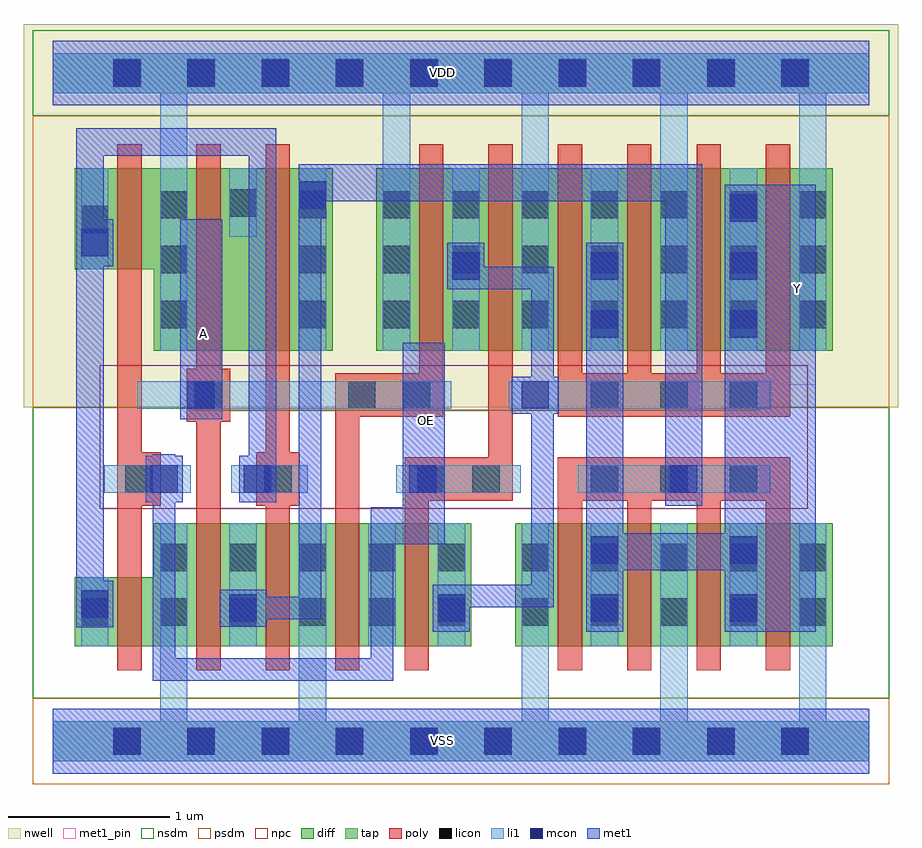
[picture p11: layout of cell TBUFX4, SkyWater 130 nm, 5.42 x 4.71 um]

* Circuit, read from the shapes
.subckt TBUFX4 A OE VDD VSS Y
XM1 VSS OE n1 VSS sky130_fd_pr__nfet_01v8 w=0.425 l=0.15
XM2 n2 A VSS VSS sky130_fd_pr__nfet_01v8 w=0.76 l=0.15
XM3 VSS n1 n2 VSS sky130_fd_pr__nfet_01v8 w=0.76 l=0.15
XM4 n3 A VSS VSS sky130_fd_pr__nfet_01v8 w=0.76 l=0.15
XM5 n4 OE n3 VSS sky130_fd_pr__nfet_01v8 w=0.76 l=0.15
XM6 Y n2 VSS VSS sky130_fd_pr__nfet_01v8 w=0.76 l=0.15 m=4
XM7 VDD OE n1 VDD sky130_fd_pr__pfet_01v8 w=0.625 l=0.15
XM8 n5 A VDD VDD sky130_fd_pr__pfet_01v8 w=1.13 l=0.15
XM9 n2 n1 n5 VDD sky130_fd_pr__pfet_01v8 w=1.13 l=0.15
XM10 n4 A VDD VDD sky130_fd_pr__pfet_01v8 w=1.13 l=0.15
XM11 VDD OE n4 VDD sky130_fd_pr__pfet_01v8 w=1.13 l=0.15
XM12 Y n4 VDD VDD sky130_fd_pr__pfet_01v8 w=1.13 l=0.15 m=4
.ends

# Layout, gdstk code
from math import pi, radians
import gdstk
lib = gdstk.Library(unit=1e-6, precision=1e-09)
def R(c, l, rs):  # rectangles x0, y0, x1, y1
    for r in rs: c.add(gdstk.rectangle(r[:2], r[2:], *l))
def A(c, l, x, y, w, h, nx, ny, dx, dy):  # array of equal rectangles
    R(c, l, [(x+i*dx, y+j*dy, x+i*dx+w, y+j*dy+h) for i in range(nx) for j in range(ny)])
def P(c, l, *ps):  # polygons
    for p in ps: c.add(gdstk.Polygon(p, *l))
nwell = (64, 20)
diff = (65, 20)
tap = (65, 44)
poly = (66, 20)
licon = (66, 44)
li1 = (67, 20)
mcon = (67, 44)
met1_pin = (68, 16)
met1 = (68, 20)
nsdm = (93, 44)
psdm = (94, 20)
npc = (95, 20)

pfet_01v8_cdns_715785618 = lib.new_cell('pfet_01v8_CDNS_7157856182068')
R(pfet_01v8_cdns_715785618, nwell, [(-0.445,-0.18,0.555,1.31)])
R(pfet_01v8_cdns_715785618, diff, [(-0.265,0,0,1.13), (0,0,0.15,1.13), (0.15,0,0.375,1.13)])
R(pfet_01v8_cdns_715785618, poly, [(0,-0.15,0.15,-0.095), (0,-0.095,0.15,0), (0,0,0.15,1.13), (0,1.13,0.15,1.225), (0,1.225,0.15,1.28)])
A(pfet_01v8_cdns_715785618, licon, -0.225, 0.14, 0.17, 0.17, 1, 3, 0, 0.34)
R(pfet_01v8_cdns_715785618, li1, [(-0.225,0,-0.055,1.13)])
R(pfet_01v8_cdns_715785618, psdm, [(-0.405,-0.13,0.385,1.26)])

nfet_01v8_cdns_715785618 = lib.new_cell('nfet_01v8_CDNS_7157856182069')
A(nfet_01v8_cdns_715785618, diff, 0, 0, 0.15, 0.76, 4, 1, 0.43, 0)
A(nfet_01v8_cdns_715785618, diff, 0.15, 0, 0.28, 0.76, 3, 1, 0.43, 0)
R(nfet_01v8_cdns_715785618, diff, [(-0.265,0,0,0.76), (1.44,0,1.705,0.76)])
A(nfet_01v8_cdns_715785618, poly, 0, -0.15, 0.15, 0.055, 4, 2, 0.43, 1.005)
A(nfet_01v8_cdns_715785618, poly, 0, -0.095, 0.15, 0.095, 4, 2, 0.43, 0.855)
A(nfet_01v8_cdns_715785618, poly, 0, 0, 0.15, 0.76, 4, 1, 0.43, 0)
A(nfet_01v8_cdns_715785618, licon, -0.225, 0.125, 0.17, 0.17, 5, 2, 0.43, 0.34)
A(nfet_01v8_cdns_715785618, li1, -0.225, 0, 0.17, 0.76, 5, 1, 0.43, 0)
R(nfet_01v8_cdns_715785618, nsdm, [(-0.405,-0.13,1.845,0.89)])

c_nfet_01v8_cdns_715785618 = lib.new_cell('nfet_01v8_CDNS_7157856182065')
R(c_nfet_01v8_cdns_715785618, diff, [(-0.075,0,0,0.425), (0,0,0.15,0.425), (0.15,0,0.415,0.425)])
R(c_nfet_01v8_cdns_715785618, poly, [(0,-0.15,0.15,-0.095), (0,-0.095,0.15,0), (0,0,0.15,0.425), (0,0.425,0.15,0.52), (0,0.52,0.15,0.575)])
R(c_nfet_01v8_cdns_715785618, licon, [(0.205,0.125,0.375,0.295)])
R(c_nfet_01v8_cdns_715785618, li1, [(0.205,0,0.375,0.425)])
R(c_nfet_01v8_cdns_715785618, nsdm, [(0.045,-0.13,0.555,0.555)])

c_pfet_01v8_cdns_715785618 = lib.new_cell('pfet_01v8_CDNS_7157856182062')
R(c_pfet_01v8_cdns_715785618, nwell, [(-0.255,-0.18,0.595,0.805)])
R(c_pfet_01v8_cdns_715785618, diff, [(-0.075,0,0,0.625), (0,0,0.15,0.625), (0.15,0,0.415,0.625)])
R(c_pfet_01v8_cdns_715785618, poly, [(0,-0.15,0.15,-0.095), (0,-0.095,0.15,0), (0,0,0.15,0.625), (0,0.625,0.15,0.72), (0,0.72,0.15,0.775)])
R(c_pfet_01v8_cdns_715785618, licon, [(0.205,0.225,0.375,0.395)])
R(c_pfet_01v8_cdns_715785618, li1, [(0.205,0,0.375,0.625)])
R(c_pfet_01v8_cdns_715785618, psdm, [(0.045,-0.13,0.555,0.755)])

c_nfet_01v8_cdns_715785618_ = lib.new_cell('nfet_01v8_CDNS_715785618200')
R(c_nfet_01v8_cdns_715785618_, diff, [(-0.265,0,0,0.76), (0,0,0.15,0.76), (0.15,0,0.415,0.76)])
R(c_nfet_01v8_cdns_715785618_, poly, [(0,-0.15,0.15,-0.095), (0,-0.095,0.15,0), (0,0,0.15,0.76), (0,0.76,0.15,0.855), (0,0.855,0.15,0.91)])
R(c_nfet_01v8_cdns_715785618_, licon, [(-0.225,0.125,-0.055,0.295), (0.205,0.125,0.375,0.295), (-0.225,0.465,-0.055,0.635), (0.205,0.465,0.375,0.635)])
R(c_nfet_01v8_cdns_715785618_, li1, [(-0.225,0,-0.055,0.76), (0.205,0,0.375,0.76)])
R(c_nfet_01v8_cdns_715785618_, nsdm, [(-0.405,-0.13,0.555,0.89)])

c_pfet_01v8_cdns_715785618_ = lib.new_cell('pfet_01v8_CDNS_7157856182016')
R(c_pfet_01v8_cdns_715785618_, nwell, [(-0.405,-0.18,1.885,1.31)])
A(c_pfet_01v8_cdns_715785618_, diff, 0, 0, 0.15, 1.13, 4, 1, 0.43, 0)
A(c_pfet_01v8_cdns_715785618_, diff, 0.15, 0, 0.28, 1.13, 3, 1, 0.43, 0)
R(c_pfet_01v8_cdns_715785618_, diff, [(-0.225,0,0,1.13), (1.44,0,1.705,1.13)])
A(c_pfet_01v8_cdns_715785618_, poly, 0, -0.15, 0.15, 0.055, 4, 2, 0.43, 1.375)
A(c_pfet_01v8_cdns_715785618_, poly, 0, -0.095, 0.15, 0.095, 4, 2, 0.43, 1.225)
A(c_pfet_01v8_cdns_715785618_, poly, 0, 0, 0.15, 1.13, 4, 1, 0.43, 0)
A(c_pfet_01v8_cdns_715785618_, licon, -0.225, 0.14, 0.17, 0.17, 5, 3, 0.43, 0.34)
A(c_pfet_01v8_cdns_715785618_, li1, -0.225, 0, 0.17, 1.13, 5, 1, 0.43, 0)
R(c_pfet_01v8_cdns_715785618_, psdm, [(-0.235,-0.13,1.845,1.26)])

c_pfet_01v8_cdns_715785618__ = lib.new_cell('pfet_01v8_CDNS_7157856182070')
R(c_pfet_01v8_cdns_715785618__, nwell, [(-0.235,-0.18,0.385,1.31)])
R(c_pfet_01v8_cdns_715785618__, diff, [(-0.055,0,0,1.13), (0,0,0.15,1.13), (0.15,0,0.205,1.13)])
R(c_pfet_01v8_cdns_715785618__, poly, [(0,-0.15,0.15,-0.095), (0,-0.095,0.15,0), (0,0,0.15,1.13), (0,1.13,0.15,1.225), (0,1.225,0.15,1.28)])
R(c_pfet_01v8_cdns_715785618__, psdm, [(-0.065,-0.13,0.215,1.26)])

c_nfet_01v8_cdns_715785618__ = lib.new_cell('nfet_01v8_CDNS_7157856182071')
R(c_nfet_01v8_cdns_715785618__, diff, [(-0.265,0,0,0.76), (0,0,0.15,0.76), (0.15,0,0.375,0.76)])
R(c_nfet_01v8_cdns_715785618__, poly, [(0,-0.15,0.15,-0.095), (0,-0.095,0.15,0), (0,0,0.15,0.76), (0,0.76,0.15,0.855), (0,0.855,0.15,0.91)])
R(c_nfet_01v8_cdns_715785618__, licon, [(-0.225,0.125,-0.055,0.295), (0.205,0.125,0.375,0.295), (-0.225,0.465,-0.055,0.635), (0.205,0.465,0.375,0.635)])
R(c_nfet_01v8_cdns_715785618__, li1, [(-0.225,0,-0.055,0.76), (0.205,0,0.375,0.76)])
R(c_nfet_01v8_cdns_715785618__, nsdm, [(-0.405,-0.13,0.385,0.89)])

c_nfet_01v8_cdns_715785618___ = lib.new_cell('nfet_01v8_CDNS_7157856182072')
R(c_nfet_01v8_cdns_715785618___, diff, [(-0.225,0,0,0.76), (0,0,0.15,0.76), (0.15,0,0.205,0.76)])
R(c_nfet_01v8_cdns_715785618___, poly, [(0,-0.15,0.15,-0.095), (0,-0.095,0.15,0), (0,0,0.15,0.76), (0,0.76,0.15,0.855), (0,0.855,0.15,0.91)])
R(c_nfet_01v8_cdns_715785618___, licon, [(-0.225,0.125,-0.055,0.295), (-0.225,0.465,-0.055,0.635)])
R(c_nfet_01v8_cdns_715785618___, li1, [(-0.225,0,-0.055,0.76)])
R(c_nfet_01v8_cdns_715785618___, nsdm, [(-0.235,-0.13,0.215,0.89)])

c_nfet_01v8_cdns_715785618____ = lib.new_cell('nfet_01v8_CDNS_715785618203')
R(c_nfet_01v8_cdns_715785618____, diff, [(-0.055,0,0,0.76), (0,0,0.15,0.76), (0.15,0,0.415,0.76)])
R(c_nfet_01v8_cdns_715785618____, poly, [(0,-0.15,0.15,-0.095), (0,-0.095,0.15,0), (0,0,0.15,0.76), (0,0.76,0.15,0.855), (0,0.855,0.15,0.91)])
R(c_nfet_01v8_cdns_715785618____, licon, [(0.205,0.125,0.375,0.295), (0.205,0.465,0.375,0.635)])
R(c_nfet_01v8_cdns_715785618____, li1, [(0.205,0,0.375,0.76)])
R(c_nfet_01v8_cdns_715785618____, nsdm, [(-0.065,-0.13,0.555,0.89)])

c_pfet_01v8_cdns_715785618___ = lib.new_cell('pfet_01v8_CDNS_7157856182073')
R(c_pfet_01v8_cdns_715785618___, nwell, [(-0.235,-0.18,0.595,1.31)])
R(c_pfet_01v8_cdns_715785618___, diff, [(-0.055,0,0,1.13), (0,0,0.15,1.13), (0.15,0,0.415,1.13)])
R(c_pfet_01v8_cdns_715785618___, poly, [(0,-0.15,0.15,-0.095), (0,-0.095,0.15,0), (0,0,0.15,1.13), (0,1.13,0.15,1.225), (0,1.225,0.15,1.28)])
A(c_pfet_01v8_cdns_715785618___, licon, 0.205, 0.14, 0.17, 0.17, 1, 3, 0, 0.34)
R(c_pfet_01v8_cdns_715785618___, li1, [(0.205,0,0.375,1.13)])
R(c_pfet_01v8_cdns_715785618___, psdm, [(-0.065,-0.13,0.555,1.26)])

c_pfet_01v8_cdns_715785618____ = lib.new_cell('pfet_01v8_CDNS_7157856182074')
R(c_pfet_01v8_cdns_715785618____, nwell, [(-0.445,-0.18,0.555,1.31)])
R(c_pfet_01v8_cdns_715785618____, diff, [(-0.265,0,0,1.13), (0,0,0.15,1.13), (0.15,0,0.375,1.13)])
R(c_pfet_01v8_cdns_715785618____, poly, [(0,-0.15,0.15,-0.095), (0,-0.095,0.15,0), (0,0,0.15,1.13), (0,1.13,0.15,1.225), (0,1.225,0.15,1.28)])
A(c_pfet_01v8_cdns_715785618____, licon, -0.225, 0.14, 0.17, 0.17, 1, 3, 0, 0.34)
A(c_pfet_01v8_cdns_715785618____, licon, 0.205, 0.14, 0.17, 0.17, 1, 3, 0, 0.34)
R(c_pfet_01v8_cdns_715785618____, li1, [(-0.225,0,-0.055,1.13), (0.205,0,0.375,1.13)])
R(c_pfet_01v8_cdns_715785618____, psdm, [(-0.405,-0.13,0.385,1.26)])

l1m1_c_cdns_715785618203 = lib.new_cell('L1M1_C_CDNS_715785618203')
R(l1m1_c_cdns_715785618203, li1, [(-0.165,-0.085,0.165,0.085)])
R(l1m1_c_cdns_715785618203, mcon, [(-0.085,-0.085,0.085,0.085)])
R(l1m1_c_cdns_715785618203, met1, [(-0.115,-0.145,0.115,0.145)])

pyl1con_c_cdns_715785618 = lib.new_cell('PYL1CON_C_CDNS_715785618200')
R(pyl1con_c_cdns_715785618, poly, [(-0.135,-0.165,0.135,0.165)])
R(pyl1con_c_cdns_715785618, licon, [(-0.085,-0.085,0.085,0.085)])
R(pyl1con_c_cdns_715785618, npc, [(-0.185,-0.185,0.185,0.185)])

l1m1_c_cdns_715785618202 = lib.new_cell('L1M1_C_CDNS_715785618202')
R(l1m1_c_cdns_715785618202, li1, [(-0.085,-0.165,0.085,0.165)])
R(l1m1_c_cdns_715785618202, mcon, [(-0.085,-0.085,0.085,0.085)])
R(l1m1_c_cdns_715785618202, met1, [(-0.115,-0.145,0.115,0.145)])

l1m1_c_cdns_715785618205 = lib.new_cell('L1M1_C_CDNS_715785618205')
R(l1m1_c_cdns_715785618205, li1, [(-0.085,-0.345,0.085,0.345)])
R(l1m1_c_cdns_715785618205, mcon, [(-0.085,-0.265,0.085,-0.095), (-0.085,0.095,0.085,0.265)])
R(l1m1_c_cdns_715785618205, met1, [(-0.115,-0.325,0.115,0.325)])

l1m1_c_cdns_715785618204 = lib.new_cell('L1M1_C_CDNS_715785618204')
R(l1m1_c_cdns_715785618204, li1, [(-0.085,-0.525,0.085,0.525)])
A(l1m1_c_cdns_715785618204, mcon, -0.085, -0.445, 0.17, 0.17, 1, 3, 0, 0.36)
R(l1m1_c_cdns_715785618204, met1, [(-0.115,-0.505,0.115,0.505)])

licondiff_c_cdns_7157856 = lib.new_cell('LICONDIFF_C_CDNS_7157856182013')
R(licondiff_c_cdns_7157856, diff, [(-0.125,-0.145,0.125,0.145)])
R(licondiff_c_cdns_7157856, licon, [(-0.085,-0.085,0.085,0.085), (-0.085,-0.085,0.085,0.085)])

l1m1_c_cdns_715785618206 = lib.new_cell('L1M1_C_CDNS_715785618206')
R(l1m1_c_cdns_715785618206, li1, [(-0.085,-0.165,0.085,0.165)])
R(l1m1_c_cdns_715785618206, mcon, [(-0.085,-0.085,0.085,0.085)])
R(l1m1_c_cdns_715785618206, met1, [(-0.145,-0.115,0.145,0.115)])

c_l1m1_c_cdns_715785618202 = lib.new_cell('L1M1_C_CDNS_7157856182020')
R(c_l1m1_c_cdns_715785618202, li1, [(-0.085,-0.165,0.085,0.165)])
R(c_l1m1_c_cdns_715785618202, mcon, [(-0.085,-0.085,0.085,0.085)])
R(c_l1m1_c_cdns_715785618202, met1, [(-0.085,-0.145,0.085,0.145)])

tbufx4 = lib.new_cell('TBUFX4')
R(tbufx4, nwell, [(-0.18,2.07,5.24,4.445), (-0.18,3.875,5.24,4.445)])
R(tbufx4, poly, [(2.18,1.49,2.85,1.76), (1.75,2.01,2.42,2.28)])
A(tbufx4, licon, 0.375, -0.085, 0.17, 0.17, 10, 2, 0.46, 4.14)
A(tbufx4, mcon, 0.375, -0.085, 0.17, 0.17, 10, 2, 0.46, 4.14)
R(tbufx4, met1_pin, [(2.17,1.22,2.43,2.47), (0.79,1.995,1.05,3.235), (4.47,2.21,4.73,3.45)])
R(tbufx4, met1, [(4.165,0.68,4.73,3.45)])
R(tbufx4, nsdm, [(-0.125,3.875,5.185,4.405), (-0.125,3.93,5.185,4.35)])
P(tbufx4, nsdm, [(5.185,2.07),(4.365,2.07),(4.365,2.05),(0.88,2.05),(0.88,2.07),(-0.125,2.07),(-0.125,0.265),(5.185,0.265)])
R(tbufx4, psdm, [(-0.125,-0.265,5.185,0.265), (-0.125,-0.21,5.185,0.21)])
P(tbufx4, psdm, [(5.185,3.875),(-0.125,3.875),(-0.125,2.07),(0.86,2.07),(0.86,2.05),(4.385,2.05),(4.385,2.07),(5.185,2.07)])
R(tbufx4, npc, [(0.29,1.44,4.68,2.33)])
tbufx4.add(gdstk.FlexPath([(1.395,1.445),(1.395,2.325)], 0.15, ends="flush", simple_path=True, layer=66, datatype=20))  # poly
tbufx4.add(gdstk.FlexPath([(0.475,1.11),(0.475,2.83)], 0.15, ends="flush", simple_path=True, layer=66, datatype=20))  # poly
tbufx4.add(gdstk.FlexPath([(0.965,1.445),(0.965,2.325)], 0.15, ends="flush", simple_path=True, layer=66, datatype=20))  # poly
tbufx4.add(gdstk.FlexPath([(4.495,2.01),(4.495,2.28)], 0.15, ends="flush", simple_path=True, layer=66, datatype=20))  # poly
tbufx4.add(gdstk.FlexPath([(4.065,2.01),(4.065,2.28)], 0.15, ends="flush", simple_path=True, layer=66, datatype=20))  # poly
tbufx4.add(gdstk.FlexPath([(3.205,2.01),(3.205,2.28)], 0.15, ends="flush", simple_path=True, layer=66, datatype=20))  # poly
tbufx4.add(gdstk.FlexPath([(3.635,2.01),(3.635,2.28)], 0.15, ends="flush", simple_path=True, layer=66, datatype=20))  # poly
tbufx4.add(gdstk.FlexPath([(1.825,2.205),(1.825,1.49)], 0.15, ends=(0.075, 0), simple_path=True, layer=66, datatype=20))  # poly
tbufx4.add(gdstk.FlexPath([(2.775,1.565),(2.775,2.31)], 0.15, ends=(0.075, 0), simple_path=True, layer=66, datatype=20))  # poly
tbufx4.add(gdstk.FlexPath([(2.18,1.565),(2.775,1.565)], 0.15, ends=(0, 0.075), simple_path=True, layer=66, datatype=20))  # poly
tbufx4.add(gdstk.FlexPath([(2.42,2.205),(1.825,2.205)], 0.15, ends=(0, 0.075), simple_path=True, layer=66, datatype=20))  # poly
tbufx4.add(gdstk.FlexPath([(4.495,1.49),(4.495,1.76)], 0.15, ends="flush", simple_path=True, layer=66, datatype=20))  # poly
tbufx4.add(gdstk.FlexPath([(3.205,1.49),(3.205,1.76)], 0.15, ends="flush", simple_path=True, layer=66, datatype=20))  # poly
tbufx4.add(gdstk.FlexPath([(3.635,1.49),(3.635,1.76)], 0.15, ends="flush", simple_path=True, layer=66, datatype=20))  # poly
tbufx4.add(gdstk.FlexPath([(4.065,1.49),(4.065,1.76)], 0.15, ends="flush", simple_path=True, layer=66, datatype=20))  # poly
tbufx4.add(gdstk.FlexPath([(0,4.14),(5.06,4.14)], 0.4, ends="flush", simple_path=True, layer=68, datatype=16))  # met1_pin
tbufx4.add(gdstk.FlexPath([(0,0),(5.06,0)], 0.4, ends="flush", simple_path=True, layer=68, datatype=16))  # met1_pin
tbufx4.add(gdstk.FlexPath([(2.04,0.445),(0.69,0.445)], 0.14, ends="extended", simple_path=True, layer=68, datatype=20))  # met1
tbufx4.add(gdstk.FlexPath([(0.69,1.78),(0.69,0.445)], 0.14, ends=(0, 0.07), simple_path=True, layer=68, datatype=20))  # met1
tbufx4.add(gdstk.FlexPath([(1.3,3.715),(1.3,1.49)], 0.17, ends=(0.085, 0), simple_path=True, layer=68, datatype=20))  # met1
tbufx4.add(gdstk.FlexPath([(1.64,3.46),(3.91,3.46)], 0.23, ends="extended", simple_path=True, layer=68, datatype=20))  # met1
tbufx4.add(gdstk.FlexPath([(2.47,0.9),(3.035,0.9)], 0.14, ends=(0.115, 0.07), simple_path=True, layer=68, datatype=20))  # met1
tbufx4.add(gdstk.FlexPath([(4.6,0.68),(4.6,3.45)], 0.26, ends="flush", simple_path=True, layer=68, datatype=20))  # met1
tbufx4.add(gdstk.FlexPath([(0.92,1.995),(0.92,3.235)], 0.26, ends="flush", simple_path=True, layer=68, datatype=20))  # met1
tbufx4.add(gdstk.FlexPath([(0,0),(5.06,0)], 0.4, ends="flush", simple_path=True, layer=68, datatype=20))  # met1
tbufx4.add(gdstk.FlexPath([(2.47,0.825),(2.47,0.9)], 0.23, ends=(0, 0.07), simple_path=True, layer=68, datatype=20))  # met1
tbufx4.add(gdstk.FlexPath([(2.04,1.335),(2.3,1.335)], 0.23, ends=(0, 0.13), simple_path=True, layer=68, datatype=20))  # met1
tbufx4.add(gdstk.FlexPath([(3.42,1.175),(4.28,1.175)], 0.23, ends="extended", simple_path=True, layer=68, datatype=20))  # met1
tbufx4.add(gdstk.FlexPath([(3.42,0.68),(3.42,3.09)], 0.23, ends="flush", simple_path=True, layer=68, datatype=20))  # met1
tbufx4.add(gdstk.FlexPath([(0.23,0.705),(0.23,2.63)], 0.17, ends="flush", simple_path=True, layer=68, datatype=20))  # met1
tbufx4.add(gdstk.FlexPath([(2.3,1.34),(2.3,2.47)], 0.26, ends=(0.115, 0), simple_path=True, layer=68, datatype=20))  # met1
tbufx4.add(gdstk.FlexPath([(0.23,2.63),(0.23,3.685)], 0.17, ends=(0, 0.115), simple_path=True, layer=68, datatype=20))  # met1
tbufx4.add(gdstk.FlexPath([(0.29,3.715),(1.3,3.715)], 0.17, ends="extended", simple_path=True, layer=68, datatype=20))  # met1
tbufx4.add(gdstk.FlexPath([(3.91,3.46),(3.91,1.46)], 0.23, ends=(0.115, 0), simple_path=True, layer=68, datatype=20))  # met1
tbufx4.add(gdstk.FlexPath([(2.04,1.45),(2.04,0.445)], 0.14, ends=(0, 0.07), simple_path=True, layer=68, datatype=20))  # met1
tbufx4.add(gdstk.FlexPath([(1.035,0.825),(1.595,0.825)], 0.14, ends=(0, 0.07), simple_path=True, layer=68, datatype=20))  # met1
tbufx4.add(gdstk.FlexPath([(3.035,2.87),(2.56,2.87)], 0.14, ends=(0.07, 0), simple_path=True, layer=68, datatype=20))  # met1
tbufx4.add(gdstk.FlexPath([(0,4.14),(5.06,4.14)], 0.4, ends="flush", simple_path=True, layer=68, datatype=20))  # met1
tbufx4.add(gdstk.FlexPath([(1.595,0.825),(1.595,3.46)], 0.14, ends=(0.07, 0), simple_path=True, layer=68, datatype=20))  # met1
tbufx4.add(gdstk.FlexPath([(3.035,0.9),(3.035,2.87)], 0.14, ends="extended", simple_path=True, layer=68, datatype=20))  # met1
tbufx4.add(gdstk.FlexPath([(2.9,1.625),(2.13,1.625)], 0.17, ends="flush", simple_path=True, layer=67, datatype=20))  # li1
tbufx4.add(gdstk.FlexPath([(3.42,0),(4.34,0)], 0.25, ends=(0.085, 0.085), simple_path=True, layer=67, datatype=20))  # li1
tbufx4.add(gdstk.FlexPath([(0.855,1.625),(0.32,1.625)], 0.17, ends="flush", simple_path=True, layer=67, datatype=20))  # li1
tbufx4.add(gdstk.FlexPath([(2.47,2.145),(0.525,2.145)], 0.17, ends="flush", simple_path=True, layer=67, datatype=20))  # li1
tbufx4.add(gdstk.FlexPath([(0.69,4.14),(2.47,4.14)], 0.25, ends=(0.085, 0.085), simple_path=True, layer=67, datatype=20))  # li1
tbufx4.add(gdstk.FlexPath([(3.42,4.14),(4.34,4.14)], 0.25, ends=(0.085, 0.085), simple_path=True, layer=67, datatype=20))  # li1
tbufx4.add(gdstk.FlexPath([(2.47,4.14),(3.42,4.14)], 0.25, ends=(0.085, 0.085), simple_path=True, layer=67, datatype=20))  # li1
tbufx4.add(gdstk.FlexPath([(4.34,0),(5.06,0)], 0.25, ends=(0.085, 0), simple_path=True, layer=67, datatype=20))  # li1
tbufx4.add(gdstk.FlexPath([(0.75,2.925),(0.75,4.14)], 0.17, ends=(0, 0.125), simple_path=True, layer=67, datatype=20))  # li1
tbufx4.add(gdstk.FlexPath([(2.13,2.925),(2.13,4.14)], 0.17, ends=(0, 0.125), simple_path=True, layer=67, datatype=20))  # li1
tbufx4.add(gdstk.FlexPath([(3.255,1.625),(4.445,1.625)], 0.17, ends="flush", simple_path=True, layer=67, datatype=20))  # li1
tbufx4.add(gdstk.FlexPath([(1.18,3.125),(1.18,3.55)], 0.17, ends="flush", simple_path=True, layer=67, datatype=20))  # li1
tbufx4.add(gdstk.FlexPath([(0.69,0),(2.47,0)], 0.25, ends=(0.085, 0.085), simple_path=True, layer=67, datatype=20))  # li1
tbufx4.add(gdstk.FlexPath([(2.825,2.145),(4.445,2.145)], 0.17, ends="flush", simple_path=True, layer=67, datatype=20))  # li1
tbufx4.add(gdstk.FlexPath([(2.04,0.59),(2.04,1.015)], 0.17, ends="flush", simple_path=True, layer=67, datatype=20))  # li1
tbufx4.add(gdstk.FlexPath([(0,4.14),(0.69,4.14)], 0.25, ends=(0, 0.085), simple_path=True, layer=67, datatype=20))  # li1
tbufx4.add(gdstk.FlexPath([(2.99,2.925),(2.99,4.14)], 0.17, ends=(0, 0.125), simple_path=True, layer=67, datatype=20))  # li1
tbufx4.add(gdstk.FlexPath([(2.99,1.015),(2.99,0)], 0.17, ends=(0, 0.125), simple_path=True, layer=67, datatype=20))  # li1
tbufx4.add(gdstk.FlexPath([(1.61,1.015),(1.61,0)], 0.17, ends=(0, 0.125), simple_path=True, layer=67, datatype=20))  # li1
tbufx4.add(gdstk.FlexPath([(0.75,1.015),(0.75,0)], 0.17, ends=(0, 0.125), simple_path=True, layer=67, datatype=20))  # li1
tbufx4.add(gdstk.FlexPath([(0,0),(0.69,0)], 0.25, ends=(0, 0.085), simple_path=True, layer=67, datatype=20))  # li1
tbufx4.add(gdstk.FlexPath([(4.71,2.925),(4.71,4.14)], 0.17, ends=(0, 0.125), simple_path=True, layer=67, datatype=20))  # li1
tbufx4.add(gdstk.FlexPath([(4.71,1.015),(4.71,0)], 0.17, ends=(0, 0.125), simple_path=True, layer=67, datatype=20))  # li1
tbufx4.add(gdstk.FlexPath([(3.85,1.015),(3.85,0)], 0.17, ends=(0, 0.125), simple_path=True, layer=67, datatype=20))  # li1
tbufx4.add(gdstk.FlexPath([(3.85,2.925),(3.85,4.14)], 0.17, ends=(0, 0.125), simple_path=True, layer=67, datatype=20))  # li1
tbufx4.add(gdstk.FlexPath([(1.58,1.625),(1.105,1.625)], 0.17, ends="flush", simple_path=True, layer=67, datatype=20))  # li1
tbufx4.add(gdstk.FlexPath([(4.34,4.14),(5.06,4.14)], 0.25, ends=(0.085, 0), simple_path=True, layer=67, datatype=20))  # li1
tbufx4.add(gdstk.FlexPath([(2.47,0),(3.42,0)], 0.25, ends=(0.085, 0.085), simple_path=True, layer=67, datatype=20))  # li1
tbufx4.add(gdstk.FlexPath([(0,0),(5.06,0)], 0.25, ends="flush", simple_path=True, layer=65, datatype=44))  # tap
tbufx4.add(gdstk.FlexPath([(0,4.14),(5.06,4.14)], 0.25, ends="flush", simple_path=True, layer=65, datatype=44))  # tap
tbufx4.add(gdstk.Reference(pfet_01v8_cdns_715785618, (0.89,2.42)))
tbufx4.add(gdstk.Reference(nfet_01v8_cdns_715785618, (3.13,0.59)))
tbufx4.add(gdstk.Reference(c_nfet_01v8_cdns_715785618, (0.55,0.59), rotation=pi, x_reflection=True))
tbufx4.add(gdstk.Reference(c_pfet_01v8_cdns_715785618, (0.55,2.925), rotation=pi, x_reflection=True))
tbufx4.add(gdstk.Reference(c_nfet_01v8_cdns_715785618_, (2.18,0.59)))
tbufx4.add(gdstk.Reference(c_pfet_01v8_cdns_715785618_, (3.13,2.42)))
tbufx4.add(gdstk.Reference(c_pfet_01v8_cdns_715785618__, (2.85,2.42), rotation=pi, x_reflection=True))
tbufx4.add(gdstk.Reference(c_nfet_01v8_cdns_715785618__, (0.89,0.59)))
tbufx4.add(gdstk.Reference(c_nfet_01v8_cdns_715785618___, (1.47,0.59), rotation=pi, x_reflection=True))
tbufx4.add(gdstk.Reference(c_nfet_01v8_cdns_715785618____, (1.75,0.59)))
tbufx4.add(gdstk.Reference(c_pfet_01v8_cdns_715785618___, (1.32,2.42)))
tbufx4.add(gdstk.Reference(c_pfet_01v8_cdns_715785618____, (2.27,2.42)))
tbufx4.add(gdstk.Reference(l1m1_c_cdns_715785618203, (2.295,1.625), rotation=pi))
tbufx4.add(gdstk.Reference(l1m1_c_cdns_715785618203, (1.27,1.625), rotation=pi))
tbufx4.add(gdstk.Reference(l1m1_c_cdns_715785618203, (0.92,2.145), x_reflection=True))
tbufx4.add(gdstk.Reference(l1m1_c_cdns_715785618203, (3.91,1.625)))
tbufx4.add(gdstk.Reference(l1m1_c_cdns_715785618203, (0.69,1.625), x_reflection=True))
tbufx4.add(gdstk.Reference(pyl1con_c_cdns_715785618, (1.915,2.145), rotation=3*pi/2))
tbufx4.add(gdstk.Reference(pyl1con_c_cdns_715785618, (2.685,1.625), rotation=3*pi/2))
tbufx4.add(gdstk.Reference(pyl1con_c_cdns_715785618, (0.965,2.145)))
tbufx4.add(gdstk.Reference(pyl1con_c_cdns_715785618, (2.345,1.625), rotation=3*pi/2))
tbufx4.add(gdstk.Reference(pyl1con_c_cdns_715785618, (1.395,1.625)))
tbufx4.add(gdstk.Reference(pyl1con_c_cdns_715785618, (0.535,1.625), rotation=pi, x_reflection=True))
tbufx4.add(gdstk.Reference(pyl1con_c_cdns_715785618, (3.42,1.625), rotation=3*pi/2))
tbufx4.add(gdstk.Reference(pyl1con_c_cdns_715785618, (4.28,1.625), rotation=3*pi/2))
tbufx4.add(gdstk.Reference(pyl1con_c_cdns_715785618, (3.85,1.625), rotation=3*pi/2))
tbufx4.add(gdstk.Reference(pyl1con_c_cdns_715785618, (2.255,2.145), rotation=3*pi/2))
tbufx4.add(gdstk.Reference(pyl1con_c_cdns_715785618, (4.28,2.145), rotation=3*pi/2))
tbufx4.add(gdstk.Reference(pyl1con_c_cdns_715785618, (3.85,2.145), rotation=3*pi/2))
tbufx4.add(gdstk.Reference(pyl1con_c_cdns_715785618, (3.42,2.145), rotation=3*pi/2))
tbufx4.add(gdstk.Reference(l1m1_c_cdns_715785618202, (2.47,0.825)))
tbufx4.add(gdstk.Reference(l1m1_c_cdns_715785618202, (2.56,2.945)))
tbufx4.add(gdstk.Reference(l1m1_c_cdns_715785618202, (2.99,2.145), rotation=pi/2))
tbufx4.add(gdstk.Reference(l1m1_c_cdns_715785618202, (0.26,3.09), rotation=pi, x_reflection=True))
tbufx4.add(gdstk.Reference(l1m1_c_cdns_715785618202, (0.26,0.85), rotation=pi, x_reflection=True))
tbufx4.add(gdstk.Reference(l1m1_c_cdns_715785618205, (3.42,1.005)))
tbufx4.add(gdstk.Reference(l1m1_c_cdns_715785618205, (3.42,2.765)))
tbufx4.add(gdstk.Reference(l1m1_c_cdns_715785618205, (4.28,1.005)))
tbufx4.add(gdstk.Reference(l1m1_c_cdns_715785618204, (4.28,2.945)))
tbufx4.add(gdstk.Reference(licondiff_c_cdns_7157856, (1.18,3.335)))
tbufx4.add(gdstk.Reference(licondiff_c_cdns_7157856, (2.04,0.8)))
tbufx4.add(gdstk.Reference(l1m1_c_cdns_715785618206, (1.18,0.825)))
tbufx4.add(gdstk.Reference(c_l1m1_c_cdns_715785618202, (1.61,3.385)))
tbufx4.add(gdstk.Label('VSS', (2.415,0.005), layer=68, texttype=16))
tbufx4.add(gdstk.Label('Y', (4.615,2.805), layer=68, texttype=16))
tbufx4.add(gdstk.Label('OE', (2.315,1.99), layer=68, texttype=16))
tbufx4.add(gdstk.Label('A', (0.935,2.525), layer=68, texttype=16))
tbufx4.add(gdstk.Label('VDD', (2.415,4.145), layer=68, texttype=16))

lib.write_gds('TBUFX4.gds')
